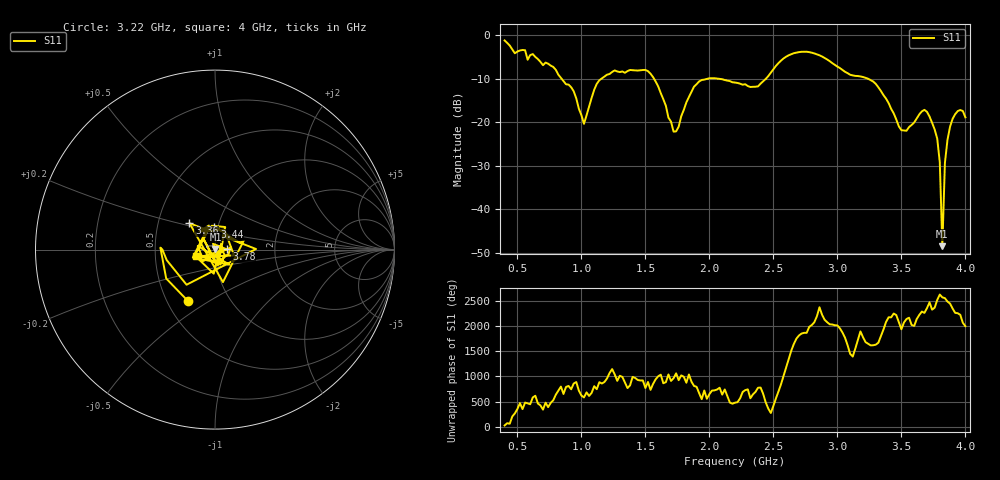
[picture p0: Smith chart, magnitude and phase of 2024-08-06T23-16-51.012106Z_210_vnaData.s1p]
!Created with skrf (http://scikit-rf.org).
# Hz S RI R 50.0
!freq ReS11 ImS11
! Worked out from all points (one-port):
!   181 points, 400 MHz to 4 GHz, reference 50 ohm
!   lowest |S11| = -48.5 dB at 3.82 GHz (marker M1), VSWR 1.01, Z = 50.2 + j0.301 ohm
!   |S11| at or under -10 dB: 1.567 GHz to 1.986 GHz (419 MHz wide, 23.6 % of centre); 2.069 GHz to 2.442 GHz (373.1 MHz wide, 16.5 % of centre); 3.239 GHz to end of sweep (the widest 3 of 4)
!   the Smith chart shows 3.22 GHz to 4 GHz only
!   S11 on the Smith chart (normalised r, x): 3.22 GHz: 0.64, -0.41; 3.36 GHz: 0.72, +0.22; 3.44 GHz: 0.96, +0.25; 3.78 GHz: 1.14, +0.00; 4 GHz: 0.80, -0.06
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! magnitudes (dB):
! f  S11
! 400 MHz  -1.2
! 860 MHz  -10.6
! 940 MHz  -12.9
! 1.02 GHz  -20.4
! 1.12 GHz  -11.2
! 1.3 GHz  -8.5
! 1.52 GHz  -8.3
! 1.6 GHz  -11.8
! 1.72 GHz  -22.2
! 1.76 GHz  -21.0
! 1.92 GHz  -10.6
! 2.2 GHz  -10.9
! 2.38 GHz  -11.8
! 2.66 GHz  -4.1
! 3.1 GHz  -9.1
! 3.22 GHz  -9.8
! 3.36 GHz  -13.8
! 3.44 GHz  -18.0
! 3.5 GHz  -21.8
! 3.56 GHz  -21.1
! 3.68 GHz  -17.2
! 3.78 GHz  -23.8
! 3.8 GHz  -29.2
! 3.82 GHz  -48.5
! 3.84 GHz  -29.4
! 3.86 GHz  -24.1
! 3.92 GHz  -18.2
! 4 GHz  -18.9
